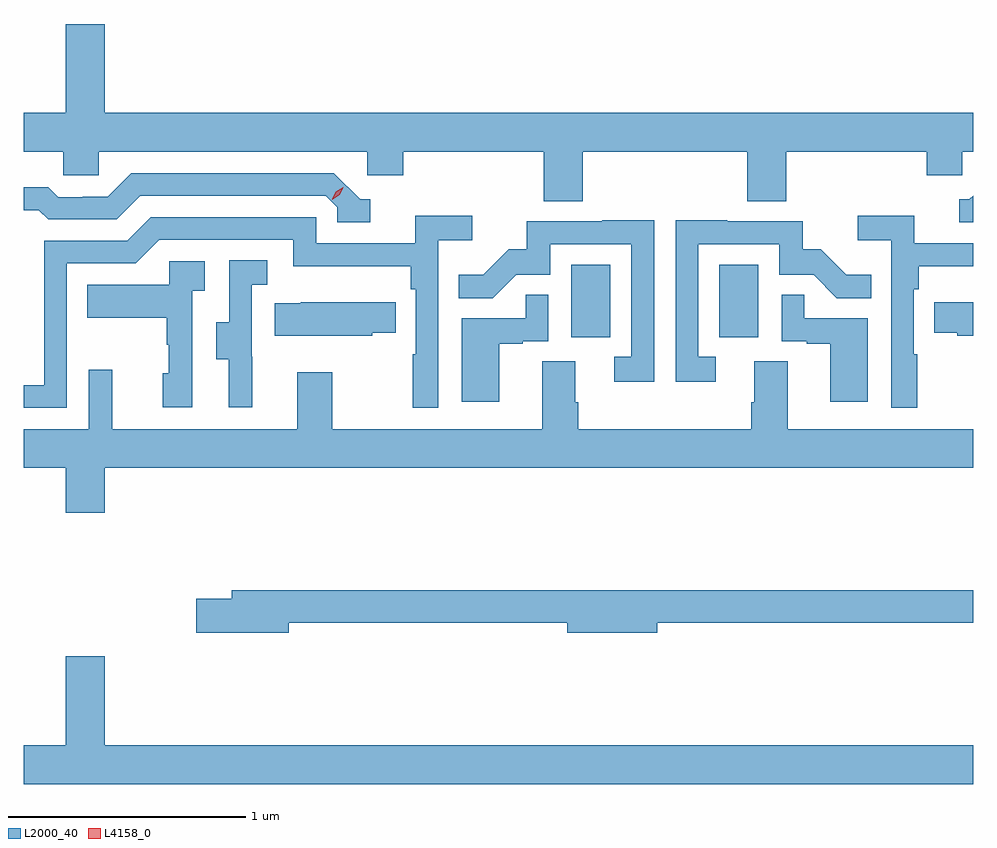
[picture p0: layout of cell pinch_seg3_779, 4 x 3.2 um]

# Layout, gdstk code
import gdstk
lib = gdstk.Library(unit=1e-6, precision=1e-09)
def R(c, l, rs):  # rectangles x0, y0, x1, y1
    for r in rs: c.add(gdstk.rectangle(r[:2], r[2:], *l))
def P(c, l, *ps):  # polygons
    for p in ps: c.add(gdstk.Polygon(p, *l))
L2000_40 = (2000, 40)
L4158_0 = (4158, 0)

pinch_seg3_779 = lib.new_cell('pinch_seg3_779')
R(pinch_seg3_779, L2000_40, [(814.49,726.774,814.654,727.081), (815.114,726.774,815.278,727.081)])
P(pinch_seg3_779, L2000_40, [(814.538,727.556),(815.231,727.556),(815.231,727.348),(815.396,727.348),(815.396,727.556),(815.987,727.556),(815.987,727.458),(816.138,727.458),(816.138,727.556),(816.183,727.556),(816.183,727.72),(812.524,727.72),(812.524,728.095),(812.36,728.095),(812.36,727.72),(812.183,727.72),(812.183,727.556),(812.349,727.556),(812.349,727.458),(812.499,727.458),(812.499,727.556),(813.63,727.556),(813.63,727.458),(813.782,727.458),(813.782,727.556),(814.373,727.556),(814.373,727.348),(814.538,727.348)],
  [(813.643,727.356),(813.6,727.356),(813.489,727.467),(812.636,727.467),(812.537,727.368),(812.43,727.368),(812.43,727.365),(812.327,727.365),(812.285,727.408),(812.183,727.408),(812.183,727.311),(812.246,727.311),(812.285,727.272),(812.574,727.272),(812.673,727.371),(813.456,727.371),(813.504,727.323),(813.504,727.26),(813.643,727.26)],
  [(816.183,727.371),(816.168,727.356),(816.125,727.356),(816.125,727.26),(816.183,727.26)],
  [(812.364,727.086),(812.655,727.086),(812.754,727.185),(813.318,727.185),(813.318,727.073),(813.814,727.073),(813.814,726.977),(813.834,726.977),(813.834,726.704),(813.822,726.704),(813.822,726.477),(813.93,726.477),(813.93,727.184),(814.072,727.184),(814.072,727.286),(813.833,727.286),(813.833,727.17),(813.414,727.17),(813.414,727.281),(812.717,727.281),(812.618,727.182),(812.268,727.182),(812.268,726.573),(812.183,726.573),(812.183,726.477),(812.364,726.477)],
  [(815.947,726.704),(815.934,726.704),(815.934,726.977),(815.954,726.977),(815.954,727.073),(816.183,727.073),(816.183,727.17),(815.936,727.17),(815.936,727.286),(815.697,727.286),(815.697,727.184),(815.838,727.184),(815.838,726.477),(815.947,726.477)],
  [(815.098,726.693),(815.025,726.693),(815.025,727.167),(815.367,727.167),(815.367,727.038),(815.511,727.038),(815.609,726.94),(815.753,726.94),(815.753,727.039),(815.649,727.039),(815.542,727.146),(815.466,727.146),(815.466,727.263),(815.147,727.263),(815.147,727.268),(814.929,727.268),(814.929,726.588),(815.098,726.588)],
  [(814.839,727.268),(814.621,727.268),(814.621,727.263),(814.303,727.263),(814.303,727.146),(814.226,727.146),(814.119,727.039),(814.015,727.039),(814.015,726.94),(814.159,726.94),(814.257,727.038),(814.401,727.038),(814.401,727.167),(814.743,727.167),(814.743,726.693),(814.671,726.693),(814.671,726.588),(814.839,726.588)],
  [(813.146,726.693),(813.144,726.693),(813.144,726.997),(813.208,726.997),(813.208,727.1),(813.048,727.1),(813.048,726.837),(812.993,726.837),(812.993,726.682),(813.047,726.682),(813.047,726.48),(813.146,726.48)],
  [(812.892,726.971),(812.944,726.971),(812.944,727.095),(812.796,727.095),(812.796,726.997),(812.449,726.997),(812.449,726.857),(812.784,726.857),(812.784,726.743),(812.794,726.743),(812.794,726.624),(812.768,726.624),(812.768,726.48),(812.892,726.48)],
  [(814.186,726.747),(814.286,726.747),(814.286,726.759),(814.392,726.759),(814.392,726.953),(814.297,726.953),(814.297,726.855),(814.028,726.855),(814.028,726.504),(814.186,726.504)],
  [(815.74,726.855),(815.471,726.855),(815.471,726.953),(815.376,726.953),(815.376,726.759),(815.483,726.759),(815.483,726.747),(815.582,726.747),(815.582,726.504),(815.74,726.504)],
  [(816.183,726.922),(816.019,726.922),(816.019,726.793),(816.117,726.793),(816.117,726.782),(816.183,726.782)],
  [(813.651,726.793),(813.749,726.793),(813.749,726.922),(813.349,726.922),(813.349,726.919),(813.241,726.919),(813.241,726.782),(813.651,726.782)],
  [(812.524,726.224),(816.183,726.224),(816.183,726.388),(815.401,726.388),(815.401,726.674),(815.261,726.674),(815.261,726.5),(815.249,726.5),(815.249,726.388),(814.52,726.388),(814.52,726.5),(814.507,726.5),(814.507,726.674),(814.367,726.674),(814.367,726.388),(813.483,726.388),(813.483,726.628),(813.335,726.628),(813.335,726.388),(812.555,726.388),(812.555,726.637),(812.457,726.637),(812.457,726.388),(812.183,726.388),(812.183,726.224),(812.36,726.224),(812.36,726.036),(812.524,726.036)],
  [(813.298,725.572),(814.472,725.572),(814.472,725.53),(814.852,725.53),(814.852,725.572),(816.183,725.572),(816.183,725.708),(813.059,725.708),(813.059,725.672),(812.91,725.672),(812.91,725.53),(813.298,725.53)],
  [(816.183,725.056),(812.524,725.056),(812.524,725.431),(812.36,725.431),(812.36,725.056),(812.183,725.056),(812.183,724.892),(816.183,724.892)])
P(pinch_seg3_779, L4158_0, [(813.482,727.355),(813.482,727.356),(813.498,727.388),(813.528,727.408),(813.529,727.408),(813.529,727.407),(813.513,727.375),(813.482,727.355)])

lib.write_gds('pinch_seg3_779.gds')
